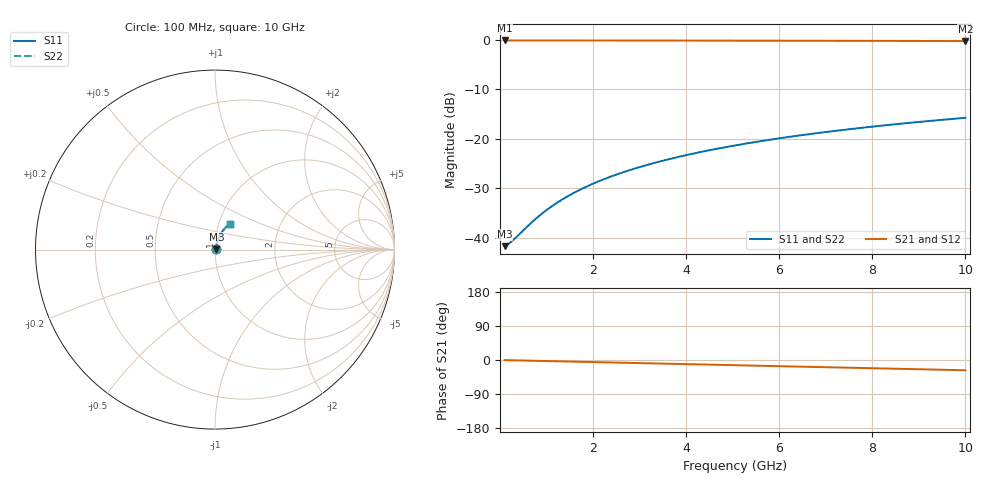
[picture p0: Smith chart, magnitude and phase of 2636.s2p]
# Hz S RI R 50.00
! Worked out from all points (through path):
!   100 points, 100 MHz to 10 GHz, reference 50 ohm
!   highest |S21| = -0.07 dB at 100 MHz (marker M1); lowest = -0.2 dB at 10 GHz (marker M2)
!   group delay of S21, straight-line fit = 7.52 ps
!   lowest |S11| = -41.8 dB at 100 MHz (marker M3), VSWR 1.02, Z = 50.8 + j0.17 ohm
!   |S11| at or under -10 dB: start of sweep to end of sweep
!   |S22| runs from -41.8 to -15.7 dB; largest |S21 - S12| = 0
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1e8  0.008 0.00167  0.992 -0.00472  0.992 -0.00472  0.008 0.00167
2e8  0.00807 0.00334  0.9919 -0.00944  0.9919 -0.00944  0.00807 0.00334
3e8  0.00815 0.00501  0.9918 -0.0142  0.9918 -0.0142  0.00815 0.00501
7e8  0.00857 0.0117  0.9912 -0.033  0.9912 -0.033  0.00857 0.0117
8e8  0.00871 0.0133  0.991 -0.0378  0.991 -0.0378  0.00871 0.0133
1e9  0.00903 0.0167  0.9905 -0.0472  0.9905 -0.0472  0.00903 0.0167
1.2e9  0.00941 0.02  0.9899 -0.0566  0.9899 -0.0566  0.00941 0.02
1.4e9  0.00985 0.0233  0.9892 -0.066  0.9892 -0.066  0.00985 0.0233
1.6e9  0.0103 0.0266  0.9884 -0.0754  0.9884 -0.0754  0.0103 0.0266
1.8e9  0.0109 0.0299  0.9875 -0.0848  0.9875 -0.0848  0.0109 0.0299
2.1e9  0.0119 0.0348  0.986 -0.0989  0.986 -0.0989  0.0119 0.0348
2.5e9  0.0134 0.0413  0.9837 -0.1175  0.9837 -0.1175  0.0134 0.0413
2.9e9  0.0151 0.0477  0.9809 -0.1362  0.9809 -0.1362  0.0151 0.0477
3.4e9  0.0176 0.0556  0.9769 -0.1593  0.9769 -0.1593  0.0176 0.0556
3.8e9  0.0199 0.0619  0.9733 -0.1778  0.9733 -0.1778  0.0199 0.0619
4.2e9  0.0224 0.068  0.9693 -0.1961  0.9693 -0.1961  0.0224 0.068
5.1e9  0.0288 0.0815  0.9588 -0.2369  0.9588 -0.2369  0.0288 0.0815
5.9e9  0.0355 0.0929  0.948 -0.2726  0.948 -0.2726  0.0355 0.0929
6.7e9  0.043 0.1038  0.9357 -0.3077  0.9357 -0.3077  0.043 0.1038
7.5e9  0.0513 0.114  0.922 -0.3421  0.922 -0.3421  0.0513 0.114
8.4e9  0.0615 0.1247  0.905 -0.38  0.905 -0.38  0.0615 0.1247
1e10  0.0815 0.1413  0.8709 -0.4447  0.8709 -0.4447  0.0815 0.1413
